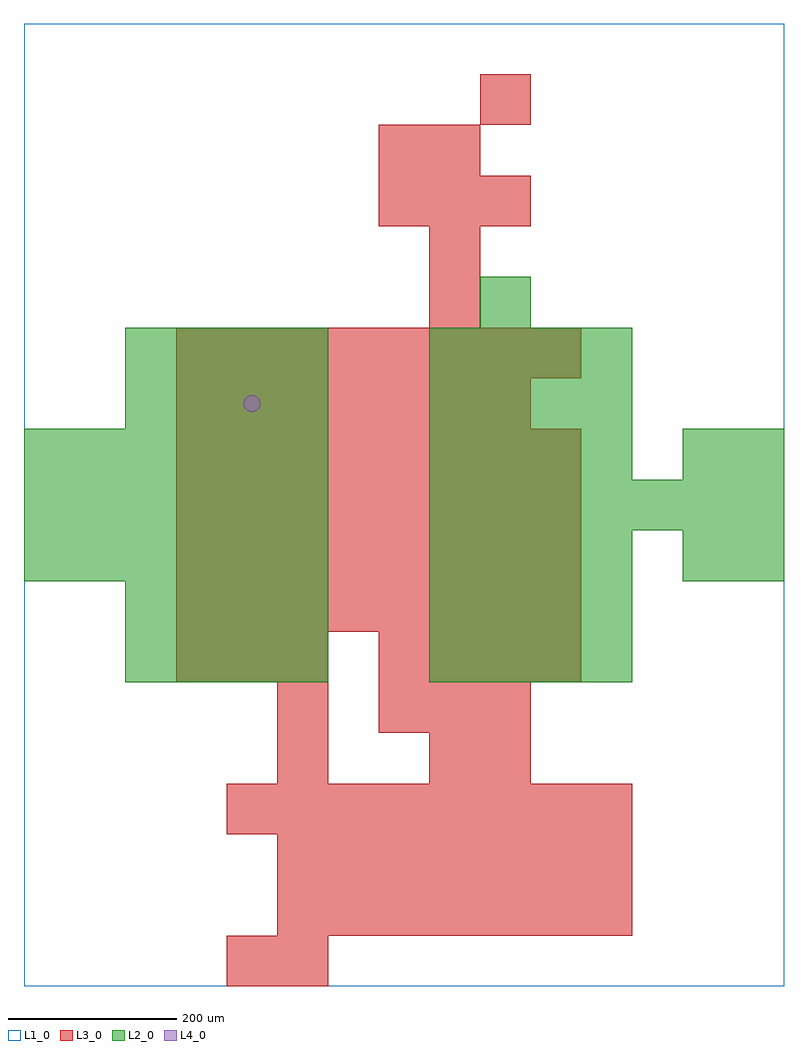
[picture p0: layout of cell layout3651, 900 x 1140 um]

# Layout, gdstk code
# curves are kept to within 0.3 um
import gdstk
lib = gdstk.Library(unit=1e-6, precision=1e-09)
def R(c, l, rs):  # rectangles x0, y0, x1, y1
    for r in rs: c.add(gdstk.rectangle(r[:2], r[2:], *l))
def A(c, l, x, y, w, h, nx, ny, dx, dy):  # array of equal rectangles
    R(c, l, [(x+i*dx, y+j*dy, x+i*dx+w, y+j*dy+h) for i in range(nx) for j in range(ny)])
def P(c, l, *ps):  # polygons
    for p in ps: c.add(gdstk.Polygon(p, *l))
L1_0 = (1, 0)
L2_0 = (2, 0)
L3_0 = (3, 0)
L4_0 = (4, 0)

layout3651 = lib.new_cell('layout3651')
R(layout3651, L1_0, [(0,0,900,1140)])
A(layout3651, L2_0, 120, 360, 60, 60, 4, 2, 60, 60)
A(layout3651, L2_0, 480, 360, 60, 60, 4, 3, 60, 60)
A(layout3651, L2_0, 0, 480, 60, 60, 6, 3, 60, 60)
A(layout3651, L2_0, 480, 540, 60, 60, 7, 1, 60, 0)
A(layout3651, L2_0, 480, 600, 60, 60, 4, 3, 60, 60)
A(layout3651, L2_0, 120, 660, 60, 60, 4, 2, 60, 60)
R(layout3651, L2_0, [(780,480,840,540), (840,480,900,540), (780,600,840,660), (840,600,900,660), (540,780,600,840)])
A(layout3651, L3_0, 300, 60, 60, 60, 7, 2, 60, 60)
A(layout3651, L3_0, 240, 180, 60, 60, 8, 1, 60, 0)
A(layout3651, L3_0, 420, 300, 60, 60, 3, 2, 60, 600)
A(layout3651, L3_0, 180, 360, 60, 60, 3, 1, 60, 0)
A(layout3651, L3_0, 420, 360, 60, 60, 4, 1, 60, 0)
A(layout3651, L3_0, 180, 420, 60, 60, 8, 4, 60, 60)
A(layout3651, L3_0, 180, 660, 60, 60, 7, 1, 60, 0)
A(layout3651, L3_0, 180, 720, 60, 60, 8, 1, 60, 0)
R(layout3651, L3_0, [(240,0,300,60), (300,0,360,60), (300,240,360,300), (480,240,540,300), (540,240,600,300), (300,300,360,360), (480,780,540,840), (480,840,540,900), (420,960,480,1020), (480,960,540,1020), (540,1020,600,1080)])
P(layout3651, L4_0, [(280,690),(279.239,693.827),(277.071,697.071),(273.827,699.239),(270,700),(266.173,699.239),(262.929,697.071),(260.761,693.827),(260,690),(260.761,686.173),(262.929,682.929),(266.173,680.761),(270,680),(273.827,680.761),(277.071,682.929),(279.239,686.173)])

lib.write_gds('layout3651.gds')
